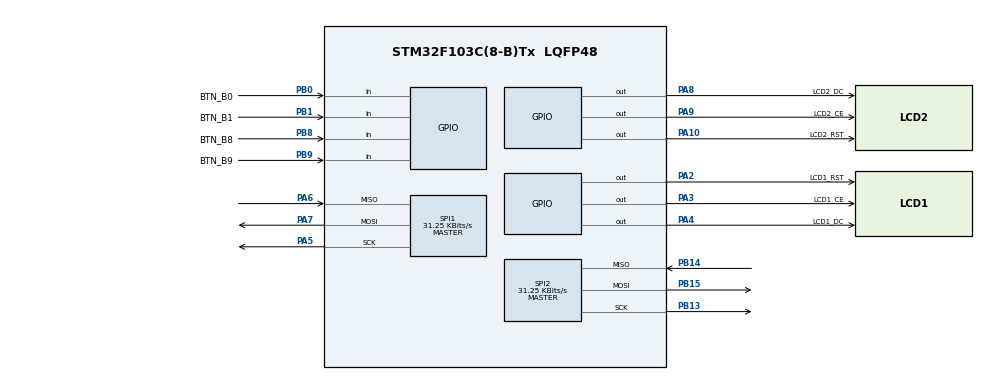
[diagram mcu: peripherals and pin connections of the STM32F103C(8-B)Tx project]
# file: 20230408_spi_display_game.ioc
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Mcu.Family=STM32F1
Mcu.Name=STM32F103C(8-B)Tx
Mcu.Package=LQFP48
NVIC.PriorityGroup=NVIC_PRIORITYGROUP_4
PA10.GPIO_Label=LCD2_RST
PA10.Signal=GPIO_Output
PA13.Mode=Serial_Wire
PA13.Signal=SYS_JTMS-SWDIO
PA14.Mode=Serial_Wire
PA14.Signal=SYS_JTCK-SWCLK
PA2.GPIO_Label=LCD1_RST
PA2.Signal=GPIO_Output
PA3.GPIO_Label=LCD1_CE
PA3.Signal=GPIO_Output
PA4.GPIO_Label=LCD1_DC
PA4.Signal=GPIO_Output
PA5.Mode=Full_Duplex_Master
PA5.Signal=SPI1_SCK
PA6.Mode=Full_Duplex_Master
PA6.Signal=SPI1_MISO
PA7.Mode=Full_Duplex_Master
PA7.Signal=SPI1_MOSI
PA8.GPIO_Label=LCD2_DC
PA8.Signal=GPIO_Output
PA9.GPIO_Label=LCD2_CE
PA9.Signal=GPIO_Output
PB0.GPIO_Label=BTN_B0
PB0.GPIO_PuPd=GPIO_PULLDOWN
PB0.Signal=GPIO_Input
PB1.GPIO_Label=BTN_B1
PB1.GPIO_PuPd=GPIO_PULLDOWN
PB1.Signal=GPIO_Input
PB13.Mode=Full_Duplex_Master
PB13.Signal=SPI2_SCK
PB14.Mode=Full_Duplex_Master
PB14.Signal=SPI2_MISO
PB15.Mode=Full_Duplex_Master
PB15.Signal=SPI2_MOSI
PB8.GPIO_Label=BTN_B8
PB8.GPIO_PuPd=GPIO_PULLDOWN
PB8.Signal=GPIO_Input
PB9.GPIO_Label=BTN_B9
PB9.GPIO_PuPd=GPIO_PULLDOWN
PB9.Signal=GPIO_Input
ProjectManager.HeapSize=0x200
ProjectManager.StackSize=0x400
ProjectManager.TargetToolchain=STM32CubeIDE
RCC.APB1Freq_Value=8000000
RCC.APB2Freq_Value=8000000
SPI1.BaudRatePrescaler=SPI_BAUDRATEPRESCALER_256
SPI1.CalculateBaudRate=31.25 KBits/s
SPI1.Direction=SPI_DIRECTION_2LINES
SPI1.Mode=SPI_MODE_MASTER
SPI1.VirtualType=VM_MASTER
SPI2.BaudRatePrescaler=SPI_BAUDRATEPRESCALER_256
SPI2.CalculateBaudRate=31.25 KBits/s
SPI2.Direction=SPI_DIRECTION_2LINES
SPI2.Mode=SPI_MODE_MASTER
SPI2.VirtualType=VM_MASTER
board=custom

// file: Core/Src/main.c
/* USER CODE BEGIN Header */
/**
  ******************************************************************************
  * @file           : main.c
  * @brief          : Main program body
  ******************************************************************************
  * @attention
  *
  * Copyright (c) 2023 STMicroelectronics.
  * All rights reserved.
  *
  * This software is licensed under terms that can be found in the LICENSE file
  * in the root directory of this software component.
  * If no LICENSE file comes with this software, it is provided AS-IS.
  *
  ******************************************************************************
  */
/* USER CODE END Header */
#include "main.h"

/* USER CODE BEGIN Includes */
#include <stdlib.h>
#include <string.h>
#include <stdbool.h>

char stringBuffer[50];
/* USER CODE END Includes */

SPI_HandleTypeDef hspi1;
SPI_HandleTypeDef hspi2;

int ply_configura = 1;
int ply_adivinha = 2;

int B0 = 0;
int B1 = 0;

int B8 = 0;
int B9 = 0;

bool ply1_ok = false;
bool ply2_ok = false;

int jogada = 1;

int n_configura = 0;
int n_adivinha = 0;
int range = 10;
int compara =0;

void SystemClock_Config(void);
static void MX_GPIO_Init(void);
static void MX_SPI1_Init(void);
static void MX_SPI2_Init(void);

int main(void)
{

  /* MCU Configuration--------------------------------------------------------*/

  /* Reset of all peripherals, Initializes the Flash interface and the Systick. */
  HAL_Init();

  /* Configure the system clock */
  SystemClock_Config();

  /* Initialize all configured peripherals */
  MX_GPIO_Init();
  MX_SPI1_Init();
  MX_SPI2_Init();
  /* USER CODE BEGIN 2 */

  LCD1_Init();
  LCD1_Write_String(0,0,"AdvnhAi PLYR 1");

  LCD2_Init();
  LCD2_Write_String(0,0,"AdvnhAi PLYR 2");

  /* USER CODE END 2 */

  /* Infinite loop */
  while (1)
  {

    /* USER CODE BEGIN 3 */

	  if (HAL_GPIO_ReadPin(GPIOB, GPIO_PIN_0)) {
		  B0 = 1;
	  } else {
		  B0 = 0;
	  }

	  if (HAL_GPIO_ReadPin(GPIOB, GPIO_PIN_1)) {
		  B1 = 1;
	  } else {
		  B1 = 0;
	  }

	  if (HAL_GPIO_ReadPin(GPIOB, GPIO_PIN_8)) {
		  B8 = 1;
	  } else {
		  B8 = 0;
	  }

	  if (HAL_GPIO_ReadPin(GPIOB, GPIO_PIN_9)) {
		  B9 = 1;
	  } else {
		  B9 = 0;
	  }

	  if(jogada == 1){

		  if(ply_configura == 1){

		  		  LCD1_Write_String(0,1,"ESCOLHENDO:");
		  		  LCD1_Write_String(0,3,"Escolhe e OK:");

		  		  if(B0 == 0){
		  			  if(B1 == 1){
		  				  if(n_configura < range){
		  					  n_configura++;//faz a leitura e quando apertar ok finaliza
		  				  }
		  				  else{
		  					  n_configura = 0;
		  					  LCD1_Write_String(3,4,"                   " );
		  				  }
		  				  sprintf(stringBuffer,"Numero: %d", n_configura);
		  				  LCD1_Write_String(3,4, stringBuffer );
		  			  }
		  			  HAL_Delay(100);
		  		  }
		  		  if(B0 == 1){
		  			  ply1_ok = true;
		  			  ply_configura = 2;
		  			  B0 = 0;
		  			  HAL_Delay(1000);
		  		  }
		  	  }

		  	  if (ply1_ok == true){
		  		  LCD1_Write_String(0,3, "                        " );
		  		  LCD1_Write_String(0,4, "                        " );

		  		  HAL_Delay(100);

		  		  sprintf(stringBuffer,"Escolhido: %d", n_configura);
		  		  LCD1_Write_String(0,4, stringBuffer );

		  		  HAL_Delay(1000);

		  		  ply1_ok = false;
		  		  compara = compara + 1; //controle para executar a comparação dos valores escolhidos pelos players

		  	  }

		  	  if(ply_adivinha == 2){
		  		  LCD2_Write_String(0,1,"ADIVINHANDO");
		  		  LCD2_Write_String(0,3,"Escolhe e OK:");

		  		  if(B8 == 0){
		  		  			  if(B9 == 1){
		  		  				  if(n_adivinha < range){
		  		  					n_adivinha++;//faz a leitura e quando apertar ok finaliza
		  		  				  }
		  		  				  else{
		  		  					n_adivinha = 0;
		  		  					  LCD2_Write_String(3,4,"                   " );
		  		  				  }
		  		  				  sprintf(stringBuffer,"Numero: %d", n_adivinha);
		  		  				  LCD2_Write_String(3,4, stringBuffer );
		  		  			  }
		  		  			  HAL_Delay(100);
		  		  		  }
		  		  		  if(B8 == 1){
		  		  			  ply2_ok = true;
		  		  			  ply_adivinha = 1;
		  		  			  B8 = 0;
		  		  			  HAL_Delay(1000);
		  		  		  }
		  	  }
		  	  if (ply2_ok == true){
		  	  		  LCD2_Write_String(0,3, "                        " );
		  	  		  LCD2_Write_String(0,4, "                        " );

		  	  		  HAL_Delay(100);

		  	  		  sprintf(stringBuffer,"Escolhido: %d", n_adivinha);
		  	  		  LCD2_Write_String(0,4, stringBuffer );

		  	  		  HAL_Delay(1000);

		  	  		  ply2_ok = false;
		  	  		  compara = compara + 1; //controle para executar a comparação dos valores escolhidos pelos players

		  	  	  }

		  	  if(compara == 2){
		  		  LCD1_Write_String(0,3, "                        " );
		  		  LCD1_Write_String(0,4, "                        " );
		  		  LCD2_Write_String(0,3, "                        " );
		  		  LCD2_Write_String(0,4, "                        " );
		  		  if(n_configura == n_adivinha){
		  			  LCD1_Write_String(0,3, "PLY 2 ACERTOU!" );
		  			  LCD1_Write_String(0,4, "PARABENS PLY2!" );
		  			  LCD2_Write_String(0,3, "PLY 2 ACERTOU!" );
		  			  LCD2_Write_String(0,4, "PARABENS PLY2!" );
		  		  }
		  		  else{
		  			  LCD1_Write_String(0,3, "PLY 2 ERROU!" );
		  			  LCD2_Write_String(0,3, "PLY 2 ERROU!" );
		  		  }

		  		  HAL_Delay(3000);

		  		  LCD1_Write_String(0,1, "                        " );
		  		  LCD1_Write_String(0,2, "                        " );
		  		  LCD1_Write_String(0,3, "                        " );
		  		  LCD1_Write_String(0,4, "                        " );
		  		  LCD2_Write_String(0,1, "                        " );
		  		  LCD2_Write_String(0,2, "                        " );
		  		  LCD2_Write_String(0,3, "                        " );
		  		  LCD2_Write_String(0,4, "                        " );
		  		  n_configura = 0;
		  		  n_adivinha=0;
		  		  compara = 0;
		  		  jogada = 2;
		  		  ply1_ok = false;
		  		  ply2_ok = false;
		  	  }
	  }

	  if(jogada == 2){

		  if(ply_configura == 2){

		  		  LCD2_Write_String(0,1,"ESCOLHENDO:");
		  		  LCD2_Write_String(0,3,"Escolhe e OK:");

		  		  if(B8 == 0){
		  			  if(B9 == 1){
		  				  if(n_configura < range){
		  					  n_configura++;//faz a leitura e quando apertar ok finaliza
		  				  }
		  				  else{
		  					  n_configura = 0;
		  					  LCD2_Write_String(3,4,"                   " );
		  				  }
		  				  sprintf(stringBuffer,"Numero: %d", n_configura);
		  				  LCD2_Write_String(3,4, stringBuffer );
		  			  }
		  			  HAL_Delay(100);
		  		  }
		  		  if(B8 == 1){
		  			  ply2_ok = true;
		  			  ply_configura = 1;
		  			  B8 = 0;
					  HAL_Delay(1000);
		  		  }
		  	  }

		  	  if (ply2_ok == true){
		  		  LCD2_Write_String(0,3, "                        " );
		  		  LCD2_Write_String(0,4, "                        " );

		  		  HAL_Delay(100);

		  		  sprintf(stringBuffer,"Escolhido: %d", n_configura);
		  		  LCD2_Write_String(0,4, stringBuffer );

		  		  HAL_Delay(1000);

		  		  ply2_ok = false;
		  		  compara = compara + 1; //controle para executar a comparação dos valores escolhidos pelos players

		  	  }

		  	  if(ply_adivinha == 1){
		  		  LCD1_Write_String(0,1,"ADIVINHANDO");
		  		  LCD1_Write_String(0,3,"Escolhe e OK:");

		  		  if(B0 == 0){
		  		  			  if(B1 == 1){
		  		  				  if(n_adivinha < range){
		  		  					n_adivinha++;//faz a leitura e quando apertar ok finaliza
		  		  				  }
		  		  				  else{
		  		  					n_adivinha = 0;
		  		  					  LCD1_Write_String(3,4,"                   " );
		  		  				  }
		  		  				  sprintf(stringBuffer,"Numero: %d", n_adivinha);
		  		  				  LCD1_Write_String(3,4, stringBuffer );
		  		  			  }
		  		  			  HAL_Delay(100);
		  		  		  }
		  		  		  if(B0 == 1){
		  		  			  ply1_ok = true;
		  		  			  ply_adivinha = 2;
		  		  			  B0 = 0;
							  HAL_Delay(1000);
		  		  		  }
		  	  }
		  	  if (ply1_ok == true){
		  	  		  LCD1_Write_String(0,3, "                        " );
		  	  		  LCD1_Write_String(0,4, "                        " );

		  	  		  HAL_Delay(100);

		  	  		  sprintf(stringBuffer,"Escolhido: %d", n_adivinha);
		  	  		  LCD1_Write_String(0,4, stringBuffer );

		  	  		  HAL_Delay(1000);

		  	  		  ply1_ok = false;
		  	  		  compara = compara + 1; //controle para executar a comparação dos valores escolhidos pelos players

		  	  	  }

		  	  if(compara == 2){
		  		  LCD1_Write_String(0,3, "                        " );
		  		  LCD1_Write_String(0,4, "                        " );
		  		  LCD2_Write_String(0,3, "                        " );
		  		  LCD2_Write_String(0,4, "                        " );
		  		  if(n_configura == n_adivinha){
		  			  LCD1_Write_String(0,3, "PLY 1 ACERTOU!" );
		  			  LCD1_Write_String(0,4, "PARABENS PLY1!" );
		  			  LCD2_Write_String(0,3, "PLY 1 ACERTOU!" );
		  			  LCD2_Write_String(0,4, "PARABENS PLY1!" );
		  		  }
		  		  else{
		  			  LCD1_Write_String(0,3, "PLY 1 ERROU!" );
		  			  LCD2_Write_String(0,3, "PLY 1 ERROU!" );
		  		  }

		  		  HAL_Delay(3000);

		  		  LCD1_Write_String(0,1, "                        " );
		  		  LCD1_Write_String(0,2, "                        " );
		  		  LCD1_Write_String(0,3, "                        " );
		  		  LCD1_Write_String(0,4, "                        " );
		  		  LCD2_Write_String(0,1, "                        " );
		  		  LCD2_Write_String(0,2, "                        " );
		  		  LCD2_Write_String(0,3, "                        " );
		  		  LCD2_Write_String(0,4, "                        " );
		  		  n_configura = 0;
		  		  n_adivinha=0;
		  		  compara = 0;
		  		  jogada = 1;
		  		  ply1_ok = false;
				  ply2_ok = false;
		  	  }
	  }

  }
  /* USER CODE END 3 */
}

void SystemClock_Config(void)
{
  RCC_OscInitTypeDef RCC_OscInitStruct = {0};
  RCC_ClkInitTypeDef RCC_ClkInitStruct = {0};

  /** Initializes the RCC Oscillators according to the specified parameters
  * in the RCC_OscInitTypeDef structure.
  */
  RCC_OscInitStruct.OscillatorType = RCC_OSCILLATORTYPE_HSI;
  RCC_OscInitStruct.HSIState = RCC_HSI_ON;
  RCC_OscInitStruct.HSICalibrationValue = RCC_HSICALIBRATION_DEFAULT;
  RCC_OscInitStruct.PLL.PLLState = RCC_PLL_NONE;
  if (HAL_RCC_OscConfig(&RCC_OscInitStruct) != HAL_OK)
  {
    Error_Handler();
  }

  /** Initializes the CPU, AHB and APB buses clocks
  */
  RCC_ClkInitStruct.ClockType = RCC_CLOCKTYPE_HCLK|RCC_CLOCKTYPE_SYSCLK
                              |RCC_CLOCKTYPE_PCLK1|RCC_CLOCKTYPE_PCLK2;
  RCC_ClkInitStruct.SYSCLKSource = RCC_SYSCLKSOURCE_HSI;
  RCC_ClkInitStruct.AHBCLKDivider = RCC_SYSCLK_DIV1;
  RCC_ClkInitStruct.APB1CLKDivider = RCC_HCLK_DIV1;
  RCC_ClkInitStruct.APB2CLKDivider = RCC_HCLK_DIV1;

  if (HAL_RCC_ClockConfig(&RCC_ClkInitStruct, FLASH_LATENCY_0) != HAL_OK)
  {
    Error_Handler();
  }
}

static void MX_SPI1_Init(void)
{

  /* SPI1 parameter configuration*/
  hspi1.Instance = SPI1;
  hspi1.Init.Mode = SPI_MODE_MASTER;
  hspi1.Init.Direction = SPI_DIRECTION_2LINES;
  hspi1.Init.DataSize = SPI_DATASIZE_8BIT;
  hspi1.Init.CLKPolarity = SPI_POLARITY_LOW;
  hspi1.Init.CLKPhase = SPI_PHASE_1EDGE;
  hspi1.Init.NSS = SPI_NSS_SOFT;
  hspi1.Init.BaudRatePrescaler = SPI_BAUDRATEPRESCALER_256;
  hspi1.Init.FirstBit = SPI_FIRSTBIT_MSB;
  hspi1.Init.TIMode = SPI_TIMODE_DISABLE;
  hspi1.Init.CRCCalculation = SPI_CRCCALCULATION_DISABLE;
  hspi1.Init.CRCPolynomial = 10;
  if (HAL_SPI_Init(&hspi1) != HAL_OK)
  {
    Error_Handler();
  }

}

static void MX_SPI2_Init(void)
{

  /* SPI2 parameter configuration*/
  hspi2.Instance = SPI2;
  hspi2.Init.Mode = SPI_MODE_MASTER;
  hspi2.Init.Direction = SPI_DIRECTION_2LINES;
  hspi2.Init.DataSize = SPI_DATASIZE_8BIT;
  hspi2.Init.CLKPolarity = SPI_POLARITY_LOW;
  hspi2.Init.CLKPhase = SPI_PHASE_1EDGE;
  hspi2.Init.NSS = SPI_NSS_SOFT;
  hspi2.Init.BaudRatePrescaler = SPI_BAUDRATEPRESCALER_256;
  hspi2.Init.FirstBit = SPI_FIRSTBIT_MSB;
  hspi2.Init.TIMode = SPI_TIMODE_DISABLE;
  hspi2.Init.CRCCalculation = SPI_CRCCALCULATION_DISABLE;
  hspi2.Init.CRCPolynomial = 10;
  if (HAL_SPI_Init(&hspi2) != HAL_OK)
  {
    Error_Handler();
  }

}

static void MX_GPIO_Init(void)
{
  GPIO_InitTypeDef GPIO_InitStruct = {0};

  /* GPIO Ports Clock Enable */
  __HAL_RCC_GPIOA_CLK_ENABLE();
  __HAL_RCC_GPIOB_CLK_ENABLE();

  /*Configure GPIO pin Output Level */
  HAL_GPIO_WritePin(GPIOA, LCD1_RST_Pin|LCD1_CE_Pin|LCD1_DC_Pin|LCD2_DC_Pin
                          |LCD2_CE_Pin|LCD2_RST_Pin, GPIO_PIN_RESET);

  /*Configure GPIO pins : LCD1_RST_Pin LCD1_CE_Pin LCD1_DC_Pin LCD2_DC_Pin
                           LCD2_CE_Pin LCD2_RST_Pin */
  GPIO_InitStruct.Pin = LCD1_RST_Pin|LCD1_CE_Pin|LCD1_DC_Pin|LCD2_DC_Pin
                          |LCD2_CE_Pin|LCD2_RST_Pin;
  GPIO_InitStruct.Mode = GPIO_MODE_OUTPUT_PP;
  GPIO_InitStruct.Pull = GPIO_NOPULL;
  GPIO_InitStruct.Speed = GPIO_SPEED_FREQ_LOW;
  HAL_GPIO_Init(GPIOA, &GPIO_InitStruct);

  /*Configure GPIO pins : BTN_B0_Pin BTN_B1_Pin BTN_B8_Pin BTN_B9_Pin */
  GPIO_InitStruct.Pin = BTN_B0_Pin|BTN_B1_Pin|BTN_B8_Pin|BTN_B9_Pin;
  GPIO_InitStruct.Mode = GPIO_MODE_INPUT;
  GPIO_InitStruct.Pull = GPIO_PULLDOWN;
  HAL_GPIO_Init(GPIOB, &GPIO_InitStruct);

}

void Error_Handler(void)
{
  __disable_irq();
  while (1)
  {
  }
}
